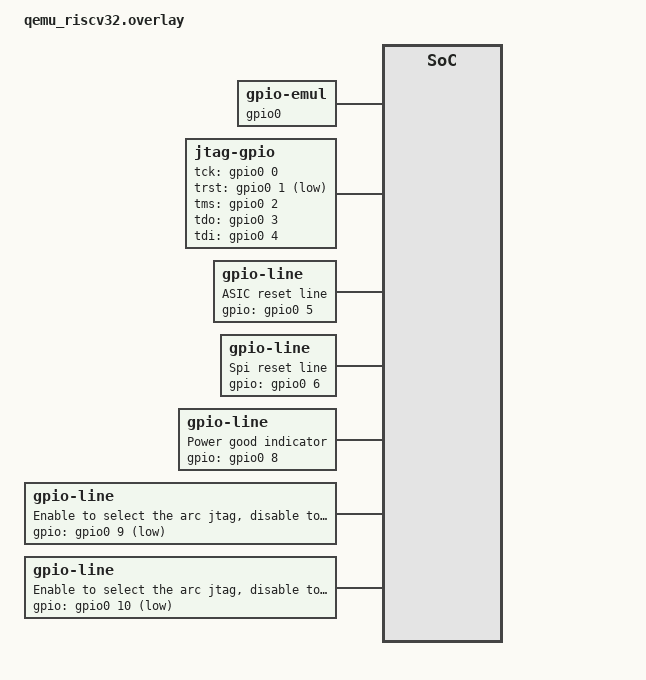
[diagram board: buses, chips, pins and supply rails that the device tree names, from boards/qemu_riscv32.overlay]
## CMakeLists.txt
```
# SPDX-License-Identifier: Apache-2.0

cmake_minimum_required(VERSION 3.20.0)
find_package(Zephyr REQUIRED HINTS $ENV{ZEPHYR_BASE})
project(ugly_jtag)

FILE(GLOB app_sources src/*.c)
target_sources(app PRIVATE ${app_sources})

target_compile_options(app PRIVATE -Wno-maybe-uninitialized)
```

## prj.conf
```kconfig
CONFIG_ZTEST=y

CONFIG_JTAG=y
CONFIG_JTAG_EMUL=y
CONFIG_TT_BH_CHIP=y
CONFIG_EVENTS=y
CONFIG_TT_EVENT=y
CONFIG_TT_JTAG_BOOTROM=y
CONFIG_JTAG_LOAD_BOOTROM=y
CONFIG_GPIO=y

CONFIG_PINCTRL=n
CONFIG_JTAG_USE_MMAPPED_IO=n

## Toggle the below block of options (commented <-> uncommented) to switch between
## profiling and verifying
# CONFIG_JTAG_PROFILE_FUNCTIONS=y
CONFIG_JTAG_VERIFY_WRITE=y
CONFIG_LOG=y
CONFIG_TT_JTAG_BOOTROM_LOG_LEVEL_DBG=y

CONFIG_ZTEST_STACK_SIZE=8192
CONFIG_SYSTEM_WORKQUEUE_STACK_SIZE=8192

CONFIG_RISCV_PMP=n
```

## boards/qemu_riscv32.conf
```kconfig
CONFIG_PINCTRL=n
CONFIG_JTAG_USE_MMAPPED_IO=n

## Toggle the below block of options (commented <-> uncommented) to switch between
## profiling and verifying
# CONFIG_JTAG_PROFILE_FUNCTIONS=y
CONFIG_JTAG_VERIFY_WRITE=y
CONFIG_LOG=y
CONFIG_LOG_DEFAULT_LEVEL=4
CONFIG_TT_JTAG_BOOTROM_LOG_LEVEL_DBG=y

CONFIG_ZTEST_STACK_SIZE=8192
CONFIG_SYSTEM_WORKQUEUE_STACK_SIZE=8192

CONFIG_RISCV_PMP=n
```

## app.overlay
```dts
/*
 * Copyright (c) 2024 Tenstorrent AI ULC
 *
 * SPDX-License-Identifier: Apache-2.0
 */

#include <zephyr/dt-bindings/gpio/gpio.h>

/ {
	jtag {
		compatible = "zephyr,jtag-gpio";
		status = "okay";
		tck-gpios = <&gpio0 0 GPIO_ACTIVE_HIGH>;
		trst-gpios = <&gpio0 1 GPIO_ACTIVE_LOW>;
		tms-gpios = <&gpio0 2 GPIO_ACTIVE_HIGH>;
		tdo-gpios = <&gpio0 3 GPIO_PULL_UP>;
		tdi-gpios = <&gpio0 4 GPIO_ACTIVE_HIGH>;
		port-write-cycles = <2>;
	};

	mcureset {
		compatible = "zephyr,gpio-line";
		label = "ASIC reset line";
		gpios = <&gpio0 5 GPIO_PULL_DOWN>;
	};

	spireset {
		compatible = "zephyr,gpio-line";
		label = "Spi reset line";
		gpios = <&gpio0 6 GPIO_PULL_DOWN>;
	};

	pgood {
		compatible = "zephyr,gpio-line";
		label = "Power good indicator";
		gpios = <&gpio0 8 GPIO_PULL_DOWN>;
	};

	arc_rambus_jtag_mux_sel: arc_rambus_jtag_mux_enable {
		label = "Enable to select the arc jtag, disable to select rambus";
		compatible = "zephyr,gpio-line";
		gpios = <&gpio0 9 GPIO_ACTIVE_LOW>;
	};

	arc_l2_jtag_mux_sel: arc_l2_jtag_mux_enable {
		label = "Enable to select the arc jtag, disable to select l2cpu";
		compatible = "zephyr,gpio-line";
		gpios = <&gpio0 10 GPIO_ACTIVE_LOW>;
	};
};
```

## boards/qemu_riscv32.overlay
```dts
/*
 * Copyright (c) 2024 Tenstorrent AI ULC
 *
 * SPDX-License-Identifier: Apache-2.0
 */

#include <zephyr/dt-bindings/gpio/gpio.h>

/ {
	gpio0: gpio-emul {
		status = "okay";
		compatible = "zephyr,gpio-emul";
		rising-edge;
		falling-edge;
		high-level;
		low-level;
		gpio-controller;
		#gpio-cells = <2>;
	};

	jtag {
		compatible = "zephyr,jtag-gpio";
		status = "okay";
		tck-gpios = <&gpio0 0 GPIO_ACTIVE_HIGH>;
		trst-gpios = <&gpio0 1 GPIO_ACTIVE_LOW>;
		tms-gpios = <&gpio0 2 GPIO_ACTIVE_HIGH>;
		tdo-gpios = <&gpio0 3 GPIO_PULL_UP>;
		tdi-gpios = <&gpio0 4 GPIO_ACTIVE_HIGH>;
		port-write-cycles = <2>;
	};

	mcureset {
	       compatible = "zephyr,gpio-line";
	       label = "ASIC reset line";
	       gpios = <&gpio0 5 GPIO_PULL_DOWN>;
	};

	spireset {
	       compatible = "zephyr,gpio-line";
	       label = "Spi reset line";
	       gpios = <&gpio0 6 GPIO_PULL_DOWN>;
	};

	pgood {
	       compatible = "zephyr,gpio-line";
	       label = "Power good indicator";
	       gpios = <&gpio0 8 GPIO_PULL_DOWN>;
	};

	arc_rambus_jtag_mux_sel: arc_rambus_jtag_mux_enable {
	       label = "Enable to select the arc jtag, disable to select rambus";
	       compatible = "zephyr,gpio-line";
	       gpios = <&gpio0 9 GPIO_ACTIVE_LOW>;
	};

	arc_l2_jtag_mux_sel: arc_l2_jtag_mux_enable {
	       label = "Enable to select the arc jtag, disable to select l2cpu";
	       compatible = "zephyr,gpio-line";
	       gpios = <&gpio0 10 GPIO_ACTIVE_LOW>;
	};
};
```

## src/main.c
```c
/*
 * Copyright (c) 2024 Tenstorrent AI ULC
 *
 * SPDX-License-Identifier: Apache-2.0
 */

#include <zephyr/ztest.h>
#include <zephyr/drivers/gpio.h>
#include <stdlib.h>

#include <tenstorrent/jtag_bootrom.h>
#include <zephyr/drivers/jtag.h>

static struct bh_chip test_chip = {.config = {
					   .jtag = DEVICE_DT_GET(DT_PATH(jtag)),
					   .asic_reset = GPIO_DT_SPEC_GET(DT_PATH(mcureset), gpios),
					   .spi_reset = GPIO_DT_SPEC_GET(DT_PATH(spireset), gpios),
					   .pgood = GPIO_DT_SPEC_GET(DT_PATH(pgood), gpios),
				   }};

ZTEST(jtag_bootrom, test_jtag_bootrom)
{
	const uint32_t *const patch = (const uint32_t *)get_bootcode();
	const size_t patch_len = get_bootcode_len();

	zassert_ok(jtag_bootrom_patch(&test_chip, patch, patch_len));
	zassert_ok(jtag_bootrom_verify(test_chip.config.jtag, patch, patch_len));
}

static void before(void *arg)
{
	ARG_UNUSED(arg);

	/* discarded if no zephyr,gpio-emul exists or if CONFIG_JTAG_VERIFY_WRITE=n */
	__aligned(sizeof(uint32_t)) uint8_t *sram = malloc(get_bootcode_len() * sizeof(uint32_t));
	const size_t patch_len = get_bootcode_len();

	zassert_ok(jtag_bootrom_init(&test_chip));
	zassert_ok(jtag_bootrom_reset_asic(&test_chip));

	if (IS_ENABLED(CONFIG_JTAG_EMUL)) {
		jtag_emul_setup(test_chip.config.jtag, (uint32_t *)sram, patch_len);
	}
}

static void after(void *arg)
{
	ARG_UNUSED(arg);

	jtag_bootrom_teardown(&test_chip);
}

ZTEST_SUITE(jtag_bootrom, NULL, NULL, before, after, NULL);
```
